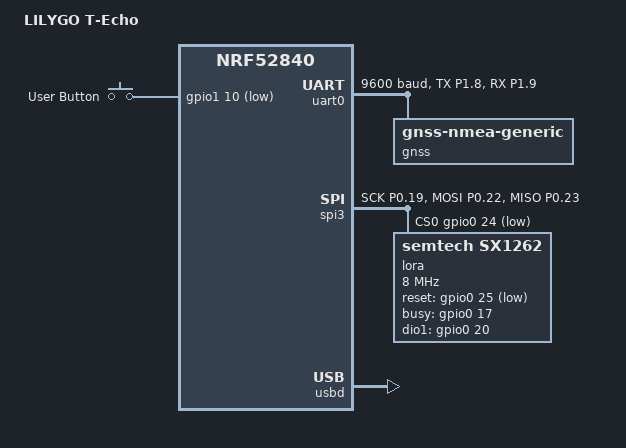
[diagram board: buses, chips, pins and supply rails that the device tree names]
/*
 * LILYGO T-Echo: an nRF52840 with an SX1262 and an L76K whose PPS is wired. Zephyr 4.5 has no
 * board file for it; this names only what LoRa Convoy uses - the radio, the GNSS's UART, the
 * button, USB - and leaves the e-paper and the flash alone. Pins from Meshtastic's
 * variants/nrf52840/t-echo/variant.h; the pins with no devicetree node of their own (PPS, the
 * GNSS's wake and reset, the peripherals' power) are in src/board.h.
 *
 * The partition is for the Adafruit UF2 bootloader with SoftDevice v6, the application at
 * 0x26000: to be checked against the unit's INFO_UF2.TXT before the first image is copied.
 */

/dts-v1/;
#include <nordic/nrf52840_qiaa.dtsi>
#include <nordic/nrf52840_partition_uf2_sdv6.dtsi>
#include <zephyr/dt-bindings/lora/sx126x.h>
#include <zephyr/dt-bindings/input/input-event-codes.h>

/ {
	model = "LILYGO T-Echo";
	compatible = "lilygo,t-echo";

	buttons {
		compatible = "gpio-keys";

		button0: button_0 {
			gpios = <&gpio1 10 (GPIO_PULL_UP | GPIO_ACTIVE_LOW)>;
			label = "User Button";
			zephyr,code = <INPUT_KEY_0>;
		};
	};

	aliases {
		sw0 = &button0;
		lora0 = &lora;
		gnss = &gnss;
		watchdog0 = &wdt0;
	};
};

&reg1 {
	regulator-initial-mode = <NRF5X_REG_MODE_DCDC>;
};

&gpiote {
	status = "okay";
};

&gpio0 {
	status = "okay";
};

&gpio1 {
	status = "okay";
};

&uart0 {
	compatible = "nordic,nrf-uarte";
	status = "okay";
	current-speed = <9600>;
	pinctrl-0 = <&uart0_default>;
	pinctrl-1 = <&uart0_sleep>;
	pinctrl-names = "default", "sleep";

	gnss: gnss-nmea-generic {
		compatible = "gnss-nmea-generic";
		status = "okay";
	};
};

&spi3 {
	compatible = "nordic,nrf-spim";
	status = "okay";
	cs-gpios = <&gpio0 24 GPIO_ACTIVE_LOW>;
	pinctrl-0 = <&spi3_default>;
	pinctrl-1 = <&spi3_sleep>;
	pinctrl-names = "default", "sleep";

	lora: lora@0 {
		compatible = "semtech,sx1262";
		reg = <0>;
		spi-max-frequency = <DT_FREQ_M(8)>;
		reset-gpios = <&gpio0 25 GPIO_ACTIVE_LOW>;
		busy-gpios = <&gpio0 17 GPIO_ACTIVE_HIGH>;
		dio1-gpios = <&gpio0 20 GPIO_ACTIVE_HIGH>;
		dio2-tx-enable;
		dio3-tcxo-voltage = <SX126X_DIO3_TCXO_1V8>;
		tcxo-power-startup-delay-ms = <5>;
	};
};

zephyr_udc0: &usbd {
	compatible = "nordic,nrf-usbd";
	status = "okay";
};

#include <../boards/common/usb/cdc_acm_serial.dtsi>

&pinctrl {
	/* TX is towards the GNSS (P1.08), RX from it (P1.09). */
	uart0_default: uart0_default {
		group1 {
			psels = <NRF_PSEL(UART_TX, 1, 8)>;
		};

		group2 {
			psels = <NRF_PSEL(UART_RX, 1, 9)>;
			bias-pull-up;
		};
	};

	uart0_sleep: uart0_sleep {
		group1 {
			psels = <NRF_PSEL(UART_TX, 1, 8)>,
				<NRF_PSEL(UART_RX, 1, 9)>;
			low-power-enable;
		};
	};

	spi3_default: spi3_default {
		group1 {
			psels = <NRF_PSEL(SPIM_SCK, 0, 19)>,
				<NRF_PSEL(SPIM_MOSI, 0, 22)>,
				<NRF_PSEL(SPIM_MISO, 0, 23)>;
		};
	};

	spi3_sleep: spi3_sleep {
		group1 {
			psels = <NRF_PSEL(SPIM_SCK, 0, 19)>,
				<NRF_PSEL(SPIM_MOSI, 0, 22)>,
				<NRF_PSEL(SPIM_MISO, 0, 23)>;
			low-power-enable;
		};
	};
};
